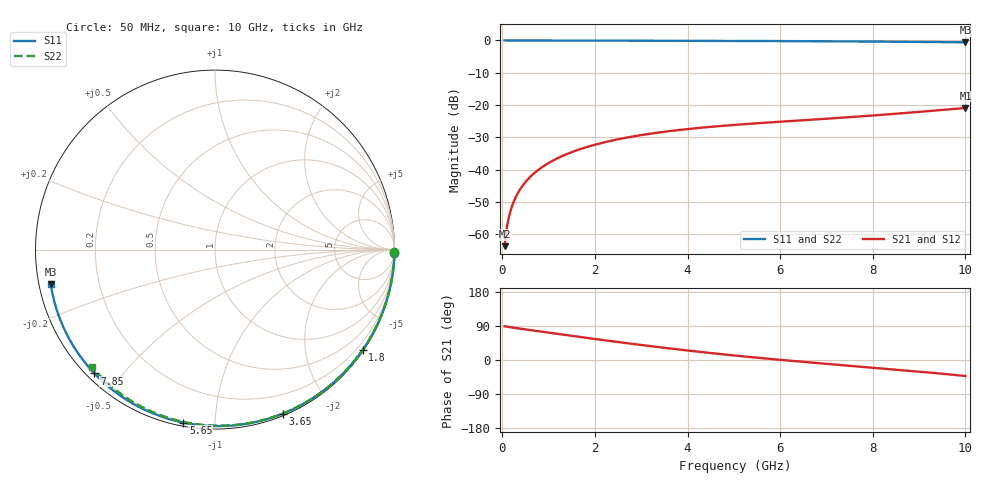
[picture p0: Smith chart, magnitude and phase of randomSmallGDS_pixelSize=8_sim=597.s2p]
! freq	dB(S11)	phase(S11)	dB(S12)	phase(S12)
!  dB(S21)	phase(S21)	dB(S22)	phase(S22)
!S-par simulation data
#  GHz  S  DB  R 50
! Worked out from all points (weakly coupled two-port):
!   200 points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, 50 MHz to 10 GHz, reference 50 ohm
!   highest |S21| = -20.90 dB at 10 GHz (marker M1); lowest = -63.7 dB at 50 MHz (marker M2)
!   lowest |S11| = -0.6 dB at 10 GHz (marker M3), VSWR 29.93, Z = 1.69 - j5.22 ohm
!   |S11| at or under -10 dB: nowhere
!   |S22| runs from -0.5 to 0.0 dB; largest |S21 - S12| = 0
!   S11 on the Smith chart (normalised r, x): 50 MHz: open; 1.8 GHz: 0.03, -3.24; 3.65 GHz: 0.02, -1.50; 5.65 GHz: 0.02, -0.83; 7.85 GHz: 0.02, -0.42; 10 GHz: 0.03, -0.10
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0.05  -0.00 -1.0  -63.69 89.0  -63.69 89.0  -0.00 -0.8
0.1  -0.00 -1.9  -57.69 87.9  -57.69 87.9  -0.00 -1.6
0.15  -0.00 -2.9  -54.18 86.9  -54.18 86.9  -0.00 -2.4
0.2  -0.00 -3.9  -51.70 86.0  -51.70 86.0  -0.00 -3.2
0.35  -0.00 -6.8  -46.89 83.3  -46.89 83.3  -0.00 -5.6
0.5  -0.01 -9.7  -43.84 80.7  -43.84 80.7  -0.01 -8.0
0.7  -0.02 -13.5  -40.97 77.3  -40.97 77.3  -0.01 -11.2
1  -0.02 -19.3  -37.94 72.2  -37.94 72.2  -0.02 -15.9
1.35  -0.03 -25.9  -35.44 66.3  -35.44 66.3  -0.03 -21.4
1.75  -0.04 -33.4  -33.34 59.5  -33.34 59.5  -0.04 -27.6
1.8  -0.05 -34.3  -33.11 58.7  -33.11 58.7  -0.04 -28.4
2.6  -0.07 -48.9  -30.31 45.8  -30.31 45.8  -0.06 -40.5
3.4  -0.09 -63.1  -28.46 33.6  -28.46 33.6  -0.07 -52.4
3.65  -0.10 -67.4  -28.00 30.0  -28.00 30.0  -0.08 -56.0
4.35  -0.12 -79.3  -26.94 20.3  -26.94 20.3  -0.10 -65.9
5.05  -0.15 -90.8  -26.11 11.4  -26.11 11.4  -0.12 -75.5
5.65  -0.18 -100.4  -25.49 4.4  -25.49 4.4  -0.15 -83.5
6.7  -0.24 -116.7  -24.51 -7.0  -24.51 -7.0  -0.20 -97.0
7.85  -0.33 -134.2  -23.39 -18.6  -23.39 -18.6  -0.27 -111.1
8.35  -0.38 -141.9  -22.86 -23.8  -22.86 -23.8  -0.31 -117.1
9.2  -0.47 -155.1  -21.88 -32.9  -21.88 -32.9  -0.39 -127.0
10  -0.58 -168.1  -20.90 -42.1  -20.90 -42.1  -0.48 -136.3
